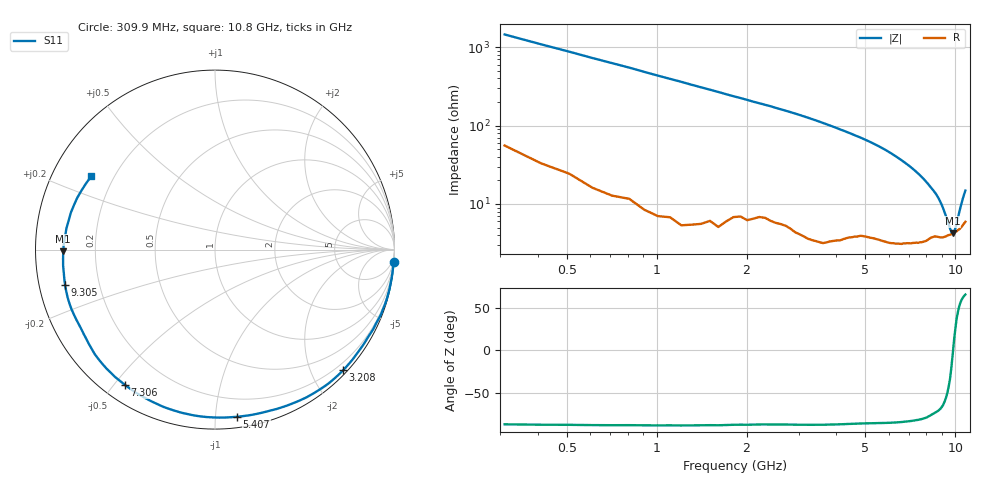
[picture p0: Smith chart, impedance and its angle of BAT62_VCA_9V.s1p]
! Infineon Technologies  Discrete & RF Semiconductors
! BAT62
! VCA = 9 V
! One-Port S-Parameters
# Hz  S  MA  R  50
!f  S11
!Hz  Mag  Ang
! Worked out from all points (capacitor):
!   106 points, 309.9 MHz to 10.8 GHz, reference 50 ohm
!   read as one part to ground: C = 355 fF near 309.9 MHz
!   lowest |Z| = 4.2 ohm at 9.805 GHz (marker M1)
!   series resonance near 9.826 GHz, so ESL is about 740 pH
!   S11 on the Smith chart (normalised r, x): 309.9 MHz: 1, -29; 3.208 GHz: 0.07, -2.52; 5.407 GHz: 0.07, -1.14; 7.306 GHz: 0.06, -0.53; 9.305 GHz: 0.08, -0.12; 10.8 GHz: 0.12, +0.27
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3.0985e8  0.9974 -3.9
1.0095e9  0.9963 -13.1
1.70915e9  0.9909 -22.5
2.4088e9  0.9821 -31.7
3.0085e9  0.9808 -40.2
3.2084e9  0.9806 -43.2
3.70815e9  0.9759 -51.4
4.10795e9  0.9679 -58.3
4.30785e9  0.9622 -61.8
4.90755e9  0.9468 -72.6
5.4073e9  0.9396 -82.4
5.6072e9  0.9373 -86.5
6.007e9  0.9328 -95.1
6.30685e9  0.9276 -101.7
6.6067e9  0.9218 -108.4
6.90655e9  0.9139 -115.1
7.30635e9  0.9055 -123.7
7.8061e9  0.8939 -134.6
8.2059e9  0.8776 -143.2
8.8056e9  0.8655 -155.1
9.10545e9  0.8635 -161.9
9.30535e9  0.8584 -166.7
9.50525e9  0.8521 -171.6
9.8051e9  0.8454 -179.4
1.010495e10  0.8361 171.8
1.030485e10  0.8292 165.7
1.050475e10  0.8198 159.3
1.08046e10  0.8013 149.3
